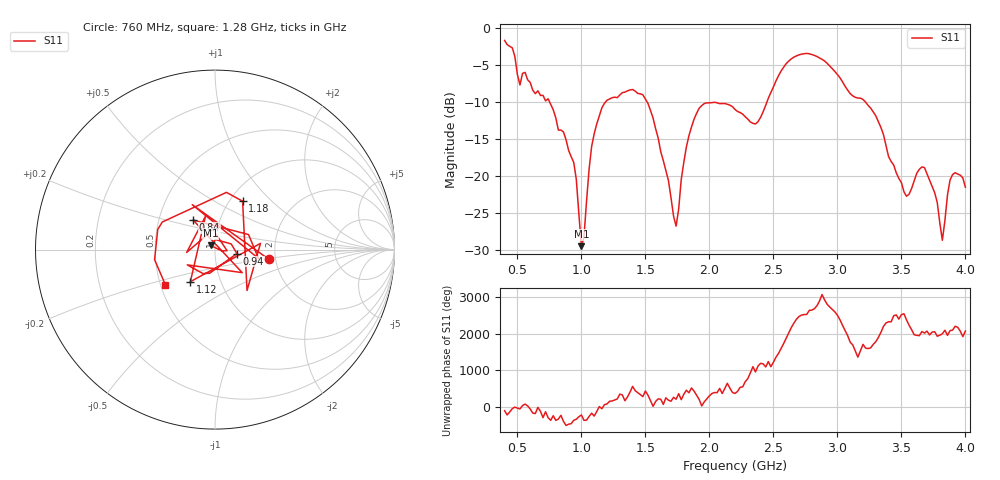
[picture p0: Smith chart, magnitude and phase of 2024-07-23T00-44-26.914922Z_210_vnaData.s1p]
!Created with skrf (http://scikit-rf.org).
# Hz S RI R 50.0
!freq ReS11 ImS11
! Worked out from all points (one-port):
!   181 points, 400 MHz to 4 GHz, reference 50 ohm
!   lowest |S11| = -29.4 dB at 1 GHz (marker M1), VSWR 1.07, Z = 47.6 + j2.21 ohm
!   |S11| at or under -10 dB: 752.1 MHz to 1.188 GHz (435.9 MHz wide, 44.9 % of centre); 1.514 GHz to 2.449 GHz (935.6 MHz wide, 47.2 % of centre); 3.22 GHz to end of sweep
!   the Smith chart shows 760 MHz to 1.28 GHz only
!   S11 on the Smith chart (normalised r, x): 760 MHz: 1.84, -0.22; 840 MHz: 0.75, +0.26; 940 MHz: 1.28, -0.06; 1.12 GHz: 0.72, -0.27; 1.18 GHz: 1.15, +0.68; 1.28 GHz: 0.53, -0.23
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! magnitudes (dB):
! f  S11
! 400 MHz  -1.7
! 520 MHz  -7.7
! 760 MHz  -10.3
! 840 MHz  -13.8
! 860 MHz  -14.0
! 940 MHz  -18.1
! 1 GHz  -29.4
! 1.08 GHz  -16.0
! 1.12 GHz  -12.9
! 1.18 GHz  -10.2
! 1.28 GHz  -9.4
! 1.3 GHz  -9.0
! 1.52 GHz  -10.2
! 1.74 GHz  -26.7
! 1.76 GHz  -24.4
! 1.82 GHz  -16.1
! 1.92 GHz  -10.8
! 2.2 GHz  -11.0
! 2.36 GHz  -13.0
! 2.66 GHz  -3.9
! 3.1 GHz  -8.9
! 3.3 GHz  -11.9
! 3.56 GHz  -22.4
! 3.68 GHz  -18.8
! 3.78 GHz  -23.5
! 3.82 GHz  -28.6
! 3.88 GHz  -20.5
! 4 GHz  -21.5
